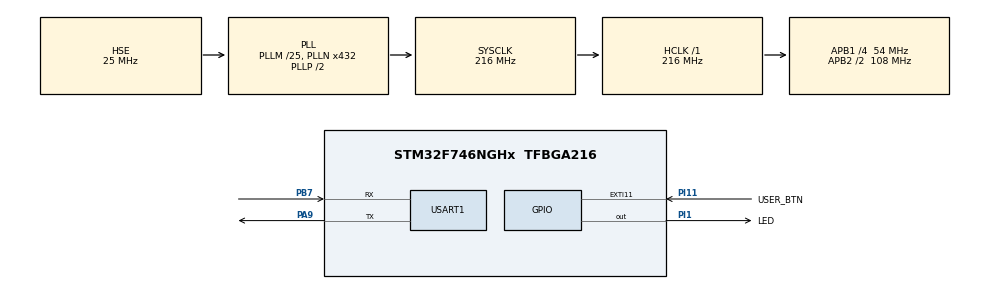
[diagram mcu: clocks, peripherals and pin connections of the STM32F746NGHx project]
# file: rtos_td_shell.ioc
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FREERTOS.Tasks01=defaultTask,0,128,StartDefaultTask,Default,NULL,Dynamic,NULL,NULL
FREERTOS.configCHECK_FOR_STACK_OVERFLOW=2
FREERTOS.configGENERATE_RUN_TIME_STATS=1
FREERTOS.configLIBRARY_MAX_SYSCALL_INTERRUPT_PRIORITY=5
FREERTOS.configRECORD_STACK_HIGH_ADDRESS=1
FREERTOS.configTOTAL_HEAP_SIZE=153600
FREERTOS.configUSE_STATS_FORMATTING_FUNCTIONS=1
FREERTOS.configUSE_TRACE_FACILITY=1
Mcu.Family=STM32F7
Mcu.Name=STM32F746NGHx
Mcu.Package=TFBGA216
NVIC.EXTI15_10_IRQn=true\:5\:0\:false\:false\:true\:true\:true\:true\:true
NVIC.PriorityGroup=NVIC_PRIORITYGROUP_4
NVIC.TIM6_DAC_IRQn=true\:15\:0\:false\:false\:true\:false\:false\:true\:true
NVIC.TimeBase=TIM6_DAC_IRQn
NVIC.TimeBaseIP=TIM6
NVIC.USART1_IRQn=true\:5\:0\:false\:false\:true\:true\:true\:true\:true
PA13.Mode=Serial_Wire
PA13.Signal=SYS_JTMS-SWDIO
PA14.Mode=Serial_Wire
PA14.Signal=SYS_JTCK-SWCLK
PA9.Mode=Asynchronous
PA9.Signal=USART1_TX
PB7.Mode=Asynchronous
PB7.Signal=USART1_RX
PH0/OSC_IN.Mode=HSE-External-Oscillator
PH0/OSC_IN.Signal=RCC_OSC_IN
PH1/OSC_OUT.Mode=HSE-External-Oscillator
PH1/OSC_OUT.Signal=RCC_OSC_OUT
PI1.GPIO_Label=LED
PI1.Signal=GPIO_Output
PI11.GPIO_Label=USER_BTN
PI11.Signal=GPXTI11
ProjectManager.HeapSize=0x200
ProjectManager.StackSize=0x400
ProjectManager.TargetToolchain=STM32CubeIDE
RCC.AHBFreq_Value=216000000
RCC.APB1CLKDivider=RCC_HCLK_DIV4
RCC.APB1Freq_Value=54000000
RCC.APB1TimFreq_Value=108000000
RCC.APB2CLKDivider=RCC_HCLK_DIV2
RCC.APB2Freq_Value=108000000
RCC.APB2TimFreq_Value=216000000
RCC.CortexFreq_Value=216000000
RCC.HCLKFreq_Value=216000000
RCC.HSE_VALUE=25000000
RCC.HSI_VALUE=16000000
RCC.LSE_VALUE=32768
RCC.PLLM=25
RCC.PLLN=432
RCC.PLLSourceVirtual=RCC_PLLSOURCE_HSE
RCC.SYSCLKFreq_VALUE=216000000
RCC.SYSCLKSource=RCC_SYSCLKSOURCE_PLLCLK
RCC.USBFreq_Value=216000000
RCC.VCOOutputFreq_Value=432000000
TIM2.Prescaler=1080-1
USART1.VirtualMode-Asynchronous=VM_ASYNC
VP_FREERTOS_VS_CMSIS_V1.Mode=CMSIS_V1
VP_SYS_VS_tim6.Mode=TIM6
VP_TIM2_VS_ClockSourceINT.Mode=Internal
board=STM32F746G-DISCO

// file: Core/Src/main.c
/* USER CODE BEGIN Header */
/**
 ******************************************************************************
 * @file           : main.c
 * @brief          : Main program body
 ******************************************************************************
 * @attention
 *
 * Copyright (c) 2022 STMicroelectronics.
 * All rights reserved.
 *
 * This software is licensed under terms that can be found in the LICENSE file
 * in the root directory of this software component.
 * If no LICENSE file comes with this software, it is provided AS-IS.
 *
 ******************************************************************************
 */
/* USER CODE END Header */
#include "main.h"
#include "cmsis_os.h"
#include "tim.h"
#include "usart.h"
#include "gpio.h"

/* USER CODE BEGIN Includes */
#include <stdio.h>
#include <stdlib.h>
#include "shell.h"
#include "string.h"
/* USER CODE END Includes */

/* USER CODE BEGIN PD */
#define TASK_SHELL_STACK_DEPTH 512
#define TASK_LED_STACK_DEPTH 512
#define TASK_SPAM_STACK_DEPTH 512
#define TASK_SHELL_PRIORITY 1
#define TASK_LED_PRIORITY 2
#define TASK_SPAM_PRIORITY 2
/* USER CODE END PD */

/* USER CODE BEGIN PV */
TaskHandle_t h_task_shell = NULL;
TaskHandle_t h_task_overflow = NULL;
TaskHandle_t h_task_led = NULL;
TaskHandle_t h_task_Spam = NULL;

SemaphoreHandle_t sem ;

typedef struct{
	char string[100] ;
	int nbr;
	int tempo;
} spam_msg_t;

 char pcWriteBuffer[200];

/* USER CODE END PV */

void SystemClock_Config(void);
void MX_FREERTOS_Init(void);

/* USER CODE BEGIN 0 */
int __io_putchar(int ch)
{
	HAL_UART_Transmit(&huart1, (uint8_t*)&ch, 1, HAL_MAX_DELAY);

	return ch;
}

void HAL_UART_RxCpltCallback(UART_HandleTypeDef *huart) // fonction weak de base
{
	if (huart->Instance == USART1)
	{
		shell_uart_receive_irq_cb();	// C'est la fonction qui donne le sémaphore!
	}
}

//---------------------------------------------------------------------------------------------------------
//Sémaphores
void taskGive(void * unused){
	int my_time=2000;
	for(;;){
		printf("Give donne un semaphore\r\n");
		xSemaphoreGive(sem);
		printf("Give a donne un semaphore\r\n");
		vTaskDelay(my_time);
	}
}
void taskTake(void * unused){
	for(;;){
		printf("Take prend un semaphore\r\n");
		BaseType_t error = xSemaphoreTake(sem, 5000);
		if (error == 0)
		{
			printf("Timeout error\r\n");
			NVIC_SystemReset();
			//			Error_Handler();
		}
		printf("Take a pris un semaphore = %d\r\n", error);
	}
}
//---------------------------------------------------------------------------------------------------------
//Overflow
void overflow(void * unused){
	int grostableau[TASK_SHELL_STACK_DEPTH];

	for (int i = 0 ; i < TASK_SHELL_STACK_DEPTH ; i++)
	{
		grostableau[i] = i;
		printf("%d\r\n", grostableau[i]);
	}
	vTaskDelete(NULL);
}
//---------------------------------------------------------------------------------------------------------
//SHELL
int variable_globale;			// Segment de données (visible dans tous les fichiers)
static int variable_statique;	// Segment de données aussi (visible que dans le fichier)

int fonction(int argc, char ** argv)//parametres passe dans la Pile
{
	int variable_locale;					// Pile (visible dans la fonction)
	static int variable_locale_statique;	// Segment de données (visible dans la fonction)

	printf("Je suis une fonction bidon\r\n");

	printf("argc = %d\r\n", argc);

	for (int i = 0 ; i < argc ; i++)
	{
		printf("arg %d = %s\r\n", i, argv[i]);
	}

	return 0;
}

int addition(int argc, char ** argv)
{
	if (argc == 3)
	{
		int a, b;
		a = atoi(argv[1]);
		b = atoi(argv[2]);
		printf("%d + %d = %d\r\n", a, b, a+b);

		return 0;
	}
	else
	{
		printf("Erreur, pas le bon nombre d'arguments\r\n");
		return -1;
	}
}

void Led_toggle (void * pvParameters) {
	int duree = (int) pvParameters;

	while (1) {
		HAL_GPIO_TogglePin(LED_GPIO_Port,LED_Pin);
		vTaskDelay(duree);
	}
}

void Task_spam (void * pvParameters) {
	spam_msg_t my_msg = *(spam_msg_t*)pvParameters;

	printf("Task Spam created\r\n");

	for(int i=0 ; i<=my_msg.nbr ; i++)
	{
		printf("%s\r\n",my_msg.string);
		vTaskDelay(my_msg.tempo);
	}

	vTaskDelete(NULL);
}

int led(int argc, char ** argv){

	int period = atoi(argv[1]);

	if(argc == 2){
		if (period == 0)
		{
			if(h_task_led!=NULL)
			{
				vTaskDelete(h_task_led);
				printf("Task LED destroy\r\n");
				h_task_led = NULL;
				HAL_GPIO_WritePin(LED_GPIO_Port,LED_Pin,0);
			}
			else
			{
				printf("Task LED don't exist\r\n");
			}
		}
		else
		{
			if(h_task_led!=NULL)
			{
				vTaskDelete (h_task_led);
				printf("Task LED destroy to be replace\r\n");
			}
			if(xTaskCreate(Led_toggle, "LED", TASK_LED_STACK_DEPTH, (void *)period,TASK_LED_PRIORITY ,	&h_task_led)!= pdPASS)
			{
				printf("Error creating task LED\r\n");
				Error_Handler();
			}
			else
			{
				printf("Task LED created period = %d ms\r\n", period);
			}
		}
	}
	else{
		printf("Erreur, trop d'arguments\r\n");
	}
	return 0;
}

int spam(int argc, char ** argv){

	spam_msg_t my_msg = {.nbr = atoi(argv[2]),.tempo = atoi(argv[3])};
	strcpy(my_msg.string, argv[1]);

	if(argc == 4){
		if (my_msg.nbr == 0 || my_msg.tempo == 0 )
		{
			printf("Task Spam don't exist nbr or tempo are not int or equal to 0s\r\n");
		}

		else
		{
			if(xTaskCreate(Task_spam, "Spam", TASK_SPAM_STACK_DEPTH, (void *)&my_msg,TASK_SPAM_PRIORITY ,&h_task_Spam)!= pdPASS)
			{
				printf("Error creating task Spam\r\n");
				Error_Handler();
			}
		}
	}
	else{
		printf("Erreur, nbr d'arguments 3 => msg nbr tempo\r\n");
	}
	return 0;
}

int stat (int argc, char ** argv){

	if(argc == 1){
		vTaskGetRunTimeStats(pcWriteBuffer);
		printf("%s\r\n",pcWriteBuffer);
		vTaskList(pcWriteBuffer);
		printf("%s\r\n",pcWriteBuffer);
	}
	return 0;
}

void task_shell(void * unused)
{
	shell_init();
	shell_add('f', fonction, "Une fonction inutile");
	shell_add('a', addition, "Effectue une somme");
	shell_add('l', led, "Toggle led");
	shell_add('s', spam, "Spam string nbr");
	shell_add('t', stat, "Stat");
	shell_run();	// boucle infinie
}
//---------------------------------------------------------------------------------------------------------

void configureTimerForRunTimeStats(void)
{
	HAL_TIM_Base_Start(&htim2);
}

unsigned long getRunTimeCounterValue(void)
{
	return __HAL_TIM_GET_COUNTER(&htim2);
}

void vApplicationStackOverflowHook(xTaskHandle xTask, signed char *pcTaskName)
{
	printf("je ne m'éxecute pas\r\n");
}

/* USER CODE END 0 */

int main(void)
{

	/* MCU Configuration--------------------------------------------------------*/

	/* Reset of all peripherals, Initializes the Flash interface and the Systick. */
	HAL_Init();

	/* Configure the system clock */
	SystemClock_Config();

	/* Initialize all configured peripherals */
	MX_GPIO_Init();
	MX_USART1_UART_Init();
	MX_TIM2_Init();
	/* USER CODE BEGIN 2 */
	DBGMCU->APB1FZ |= DBGMCU_APB1_FZ_DBG_TIM6_STOP;

	//	if (xTaskCreate(overflow, "ov", TASK_SHELL_STACK_DEPTH, NULL, TASK_SHELL_PRIORITY, &h_task_overflow) != pdPASS)
	//	{
	//			printf("Error creating task overflow\r\n");
	//		Error_Handler();
	//	}

	if (xTaskCreate(task_shell, "Shell", TASK_SHELL_STACK_DEPTH, NULL, TASK_SHELL_PRIORITY, &h_task_shell) != pdPASS)
	{
		printf("Error creating task shell\r\n");
		Error_Handler();
	}

	sem = xSemaphoreCreateBinary();
	vQueueAddToRegistry(sem, "SemTest");
	xTaskCreate(taskGive, "Give", 256, NULL, 5, NULL);
	xTaskCreate(taskTake, "Take", 256, NULL, 4, NULL);

	// Tache Bidon pour avoir une erreur
	//
	//	while(1){
	//		static int i = 0;
	//		printf("i = %d\r\n", i);
	//		i++;
	//
	//		if (xTaskCreate(task_shell, "Shell", TASK_SHELL_STACK_DEPTH, NULL, TASK_SHELL_PRIORITY, &h_task_shell) != pdPASS)
	//		{
	//			printf("Error creating task shell\r\n");
	//			Error_Handler();
	//		}
	//	}

	vTaskStartScheduler();

	/* USER CODE END 2 */

	/* Call init function for freertos objects (in freertos.c) */
	MX_FREERTOS_Init();

	/* Start scheduler */
	osKernelStart();

	/* We should never get here as control is now taken by the scheduler */
	/* Infinite loop */
	while (1)
	{

	}
}

void SystemClock_Config(void)
{
	RCC_OscInitTypeDef RCC_OscInitStruct = {0};
	RCC_ClkInitTypeDef RCC_ClkInitStruct = {0};

	/** Configure the main internal regulator output voltage
	 */
	__HAL_RCC_PWR_CLK_ENABLE();
	__HAL_PWR_VOLTAGESCALING_CONFIG(PWR_REGULATOR_VOLTAGE_SCALE1);

	/** Initializes the RCC Oscillators according to the specified parameters
	 * in the RCC_OscInitTypeDef structure.
	 */
	RCC_OscInitStruct.OscillatorType = RCC_OSCILLATORTYPE_HSE;
	RCC_OscInitStruct.HSEState = RCC_HSE_ON;
	RCC_OscInitStruct.PLL.PLLState = RCC_PLL_ON;
	RCC_OscInitStruct.PLL.PLLSource = RCC_PLLSOURCE_HSE;
	RCC_OscInitStruct.PLL.PLLM = 25;
	RCC_OscInitStruct.PLL.PLLN = 432;
	RCC_OscInitStruct.PLL.PLLP = RCC_PLLP_DIV2;
	RCC_OscInitStruct.PLL.PLLQ = 2;
	if (HAL_RCC_OscConfig(&RCC_OscInitStruct) != HAL_OK)
	{
		Error_Handler();
	}

	/** Activate the Over-Drive mode
	 */
	if (HAL_PWREx_EnableOverDrive() != HAL_OK)
	{
		Error_Handler();
	}

	/** Initializes the CPU, AHB and APB buses clocks
	 */
	RCC_ClkInitStruct.ClockType = RCC_CLOCKTYPE_HCLK|RCC_CLOCKTYPE_SYSCLK
			|RCC_CLOCKTYPE_PCLK1|RCC_CLOCKTYPE_PCLK2;
	RCC_ClkInitStruct.SYSCLKSource = RCC_SYSCLKSOURCE_PLLCLK;
	RCC_ClkInitStruct.AHBCLKDivider = RCC_SYSCLK_DIV1;
	RCC_ClkInitStruct.APB1CLKDivider = RCC_HCLK_DIV4;
	RCC_ClkInitStruct.APB2CLKDivider = RCC_HCLK_DIV2;

	if (HAL_RCC_ClockConfig(&RCC_ClkInitStruct, FLASH_LATENCY_7) != HAL_OK)
	{
		Error_Handler();
	}
}

void HAL_TIM_PeriodElapsedCallback(TIM_HandleTypeDef *htim)
{
	if (htim->Instance == TIM6) {
		HAL_IncTick();
	}
}

void Error_Handler(void)
{
	__disable_irq();
	while (1)
	{
	}
}
